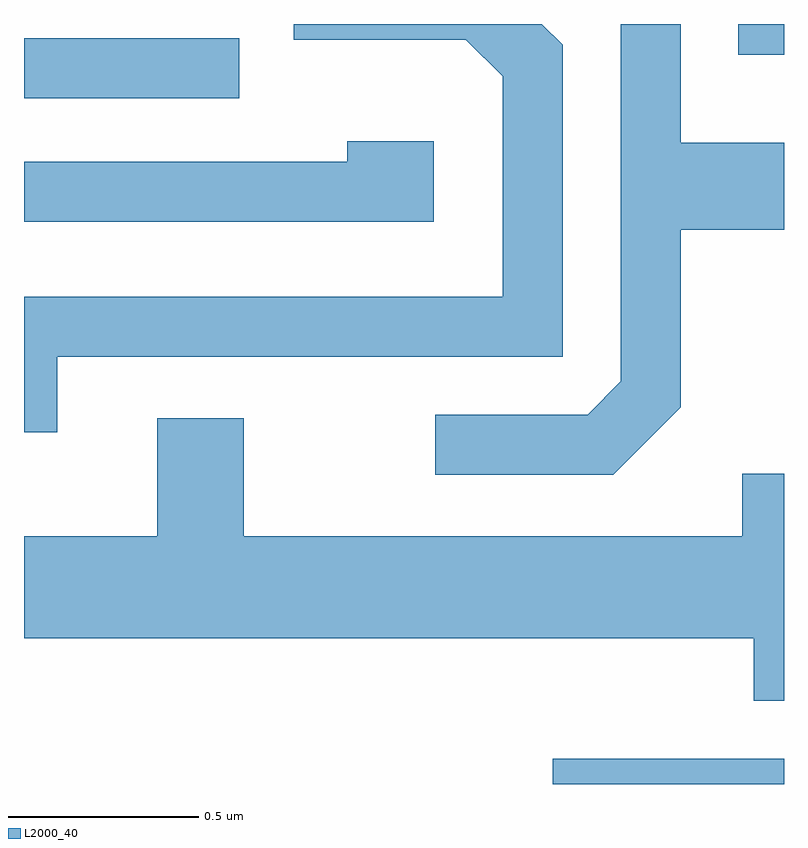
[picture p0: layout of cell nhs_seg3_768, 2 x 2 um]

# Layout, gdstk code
import gdstk
lib = gdstk.Library(unit=1e-6, precision=1e-09)
def R(c, l, rs):  # rectangles x0, y0, x1, y1
    for r in rs: c.add(gdstk.rectangle(r[:2], r[2:], *l))
def P(c, l, *ps):  # polygons
    for p in ps: c.add(gdstk.Polygon(p, *l))
L2000_40 = (2000, 40)

nhs_seg3_768 = lib.new_cell('nhs_seg3_768')
R(nhs_seg3_768, L2000_40, [(192.003,1198.892,192.611,1198.959), (190.611,1200.696,191.178,1200.854), (192.491,1200.811,192.611,1200.892)])
P(nhs_seg3_768, L2000_40, [(190.699,1200.016),(192.029,1200.016),(192.029,1200.837),(191.974,1200.892),(191.321,1200.892),(191.321,1200.851),(191.774,1200.851),(191.871,1200.754),(191.871,1200.174),(190.611,1200.174),(190.611,1199.818),(190.699,1199.818)],
  [(192.339,1199.884),(192.339,1200.351),(192.611,1200.351),(192.611,1200.579),(192.339,1200.579),(192.339,1200.892),(192.181,1200.892),(192.181,1199.952),(192.094,1199.864),(191.693,1199.864),(191.693,1199.706),(192.162,1199.706)],
  [(191.689,1200.584),(191.461,1200.584),(191.461,1200.529),(190.611,1200.529),(190.611,1200.371),(191.689,1200.371)],
  [(192.611,1199.709),(192.501,1199.709),(192.501,1199.544),(191.189,1199.544),(191.189,1199.854),(190.961,1199.854),(190.961,1199.544),(190.611,1199.544),(190.611,1199.276),(192.531,1199.276),(192.531,1199.111),(192.611,1199.111)])

lib.write_gds('nhs_seg3_768.gds')
